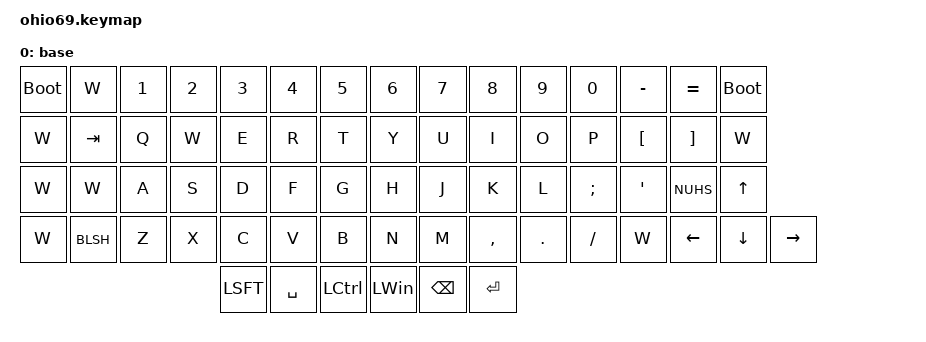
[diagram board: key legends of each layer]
/ {

    keymap {
        compatible = "zmk,keymap";
        base {
            bindings = <
        //╭──────────┬──────────┬──────────┬──────────┬──────────┬──────────┬──────────╮        ╭──────────┬──────────┬──────────┬──────────┬──────────╮──────────╮──────────╮──────────╮
        //│     BL   │   w      │  1       │  2       │  3       │  4       │  5       │        │  6       │  7       │  8       │  9       │  0       │  ß       │     ´          BL
           &bootloader  &kp W     &kp 1      &kp 2         &kp 3   &kp 4        &kp 5               &kp 6       &kp 7   &kp 8       &kp 9       &kp 0    &kp MINUS &kp EQL      &bootloader
        //┼──────────┼──────────├──────────┼──────────┼──────────┼──────────┼──────────┤        ├──────────┼──────────┼──────────┼──────────┼──────────┤──────────┤──────────┤──────────┤
        //│     w    │   TAB    │  Q       │  W       │  E       │  R       │  T       │        │  Z       │  U       │  I       │  O       │  P       │  Ü       │  +       │    w     │
            &kp W      &kp TAB      &kp Q   &kp W       &kp E       &kp R       &kp T               &kp Y       &kp U      &kp I    &kp O       &kp P     &kp LBKT   &kp RBKT  &kp W
        //┼──────────┼──────────├──────────┼──────────┼──────────┼──────────┼──────────┤        ├──────────┼──────────┼──────────┼──────────┼──────────┤──────────┤──────────┤──────────┤
        //│     w    │     w    │  A       │  S       │  D       │  F       │  G       │        │  H       │  J       │  K       │  L       │ ö        │ ä        │ #        │ up       │
            &kp W       &kp W       &kp A   &kp S       &kp D       &kp F       &kp G               &kp H       &kp J   &kp K       &kp L     &kp SEMI   &kp QUOT   &kp NUHS    &kp UP 
        //┼──────────┼──────────├──────────┼──────────┼──────────┼──────────┼──────────┤        ├──────────┼──────────┼──────────┼──────────┼──────────┤──────────┤──────────┤──────────┤──────────┤
        //│      w   │     <    │  Y       │  X       │  C       │  V       │  B       │        │  N       │  M       │ ,        │ .        │ -        │    FN    │ left     |   down   | right    |
            &kp W       &kp BLSH   &kp Z    &kp X       &kp C       &kp V       &kp B               &kp N    &kp M     &kp CMMA     &kp DOT    &kp FSLH  &kp W       &kp LEFT  &kp DOWN     &kp RIGHT
        //╰──────────┴──────────┴──────────┴──────────┴──────────┼──────────┼──────────┤        ├──────────┼──────────┼──────────┴──────────┴──────────╯──────────╯──────────╯──────────╯──────────╯
        //                                                  shift      space     CNTRL           WIN(alt)     bspace     enter                   
                                                        &kp LSFT    &kp SPC    &kp LCTL          &kp LWIN   &kp BSPC    &kp ENTER   
        //                                             ╰──────────┴─────────┴──────────╯        ╰──────────┴─────────┴──────────╯
            >;
        };    

    }

 };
